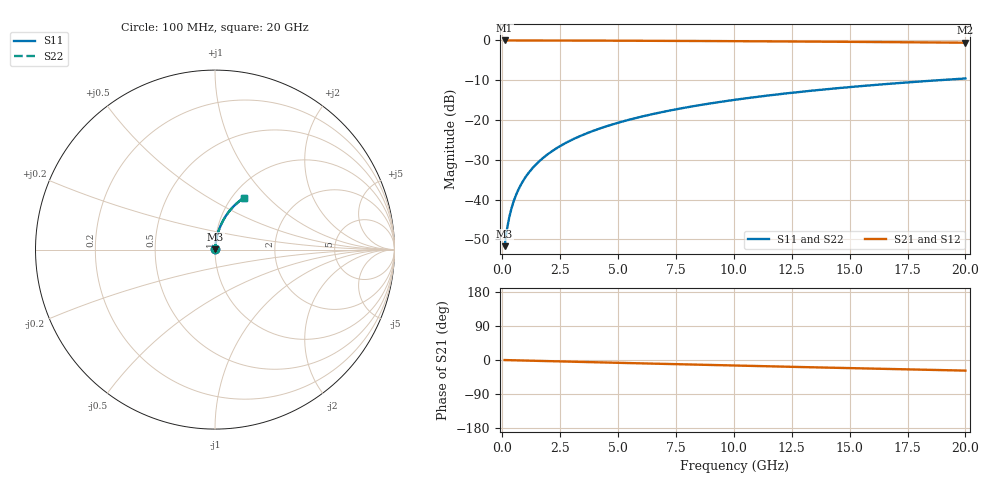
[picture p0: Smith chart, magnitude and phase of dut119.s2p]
! Touchstone file exported from HFSS 2026.1.0
!  File:  C:/ffzhzh/LocalFiles/Ansys_Project_Files/temp_train_TMRDL_119_1782982579_42984.aedt
!  Generated:  04:57:31 PM Jul  2, 2026
!  Design:  TMRDL
!  Project:  temp_train_TMRDL_119_1782982579_42984
! Variables:
!  h_bsmrdl = 2um
!  h_ox = 20um
!  h_rdl = 5um
!  h_sub = 80um
!  h_tmrdl = 5.99um
!  h_tsv = 80um
!  h_via = 3um
!  l_bsmrdl = 300um
!  l_sub = 738.12um
!  l_tmrdl = 338.12um
!  m_sub = 200um
!  pitch = 51.31um
!  r_tsv = 6um
!  s_tmrdl = 10um
!  w_bsmrdl = 18um
!  w_sub = 500um
!  w_tmrdl = 12.11um
!  x_tsv_center1 = 344.175um
!  x_tsv_center2 = 662.175um
!  x_tsv_center3 = 1012.405um
!  x_tsv_center4 = 1330.405um
!  x_tsv_center5 = 1680.635um
!  x_tsv_center6 = 1998.635um
# GHz S MA R 50.000000
! Terminal data exported
! Port[1] = TM_RDL1_1_T1
! Port[2] = TM_RDL1_1_T2
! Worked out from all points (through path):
!   200 points, 100 MHz to 20 GHz, reference 50 ohm
!   highest |S21| = -0.01 dB at 100 MHz (marker M1); lowest = -0.6 dB at 20 GHz (marker M2)
!   group delay of S21, straight-line fit = 3.89 ps
!   lowest |S11| = -51.7 dB at 100 MHz (marker M3), VSWR 1.01, Z = 50.2 + j0.194 ohm
!   |S11| at or under -10 dB: start of sweep to 18.86 GHz
!   |S22| runs from -51.7 to -9.6 dB; largest |S21 - S12| = 2.6e-15
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0.1  0.002596 48.3  0.9983 -0.2  0.9983 -0.2  0.002596 48.3
! Gamma 0 0 0 0
! Port Impedance 50 0 50 0
0.2  0.004196 65.7  0.9982 -0.3  0.9982 -0.3  0.004196 65.7
0.3  0.005977 72.9  0.9982 -0.5  0.9982 -0.5  0.005978 72.9
0.4  0.007815 76.7  0.9981 -0.6  0.9981 -0.6  0.007816 76.7
0.5  0.009677 78.9  0.9981 -0.8  0.9981 -0.8  0.009678 78.9
0.7  0.01343 81.3  0.998 -1.1  0.998 -1.1  0.01343 81.3
0.8  0.01531 82.0  0.9979 -1.2  0.9979 -1.2  0.01531 82.0
1  0.01907 82.8  0.9978 -1.5  0.9978 -1.5  0.01908 82.8
1.2  0.02284 83.3  0.9976 -1.8  0.9976 -1.8  0.02284 83.3
1.4  0.02659 83.5  0.9975 -2.1  0.9975 -2.1  0.02659 83.5
1.7  0.0322 83.6  0.9972 -2.6  0.9972 -2.6  0.0322 83.6
2  0.03778 83.4  0.9969 -3.0  0.9969 -3.0  0.03778 83.4
2.7  0.0507 82.9  0.996 -4.0  0.996 -4.0  0.0507 82.9
3.5  0.0653 82.0  0.9947 -5.2  0.9947 -5.2  0.0653 82.0
4.2  0.07794 81.1  0.9934 -6.3  0.9934 -6.3  0.07794 81.1
5  0.09224 80.1  0.9918 -7.4  0.9918 -7.4  0.09224 80.1
6.8  0.1239 77.8  0.9876 -10.0  0.9876 -10.0  0.1239 77.8
8.3  0.1498 75.8  0.9834 -12.2  0.9834 -12.2  0.1498 75.8
10.1  0.1802 73.5  0.9778 -14.7  0.9778 -14.7  0.1802 73.5
13.4  0.234 69.1  0.9656 -19.3  0.9656 -19.3  0.234 69.1
16.7  0.2847 64.8  0.9514 -23.7  0.9514 -23.7  0.2847 64.8
20  0.3322 60.7  0.9355 -28.0  0.9355 -28.0  0.3322 60.7
